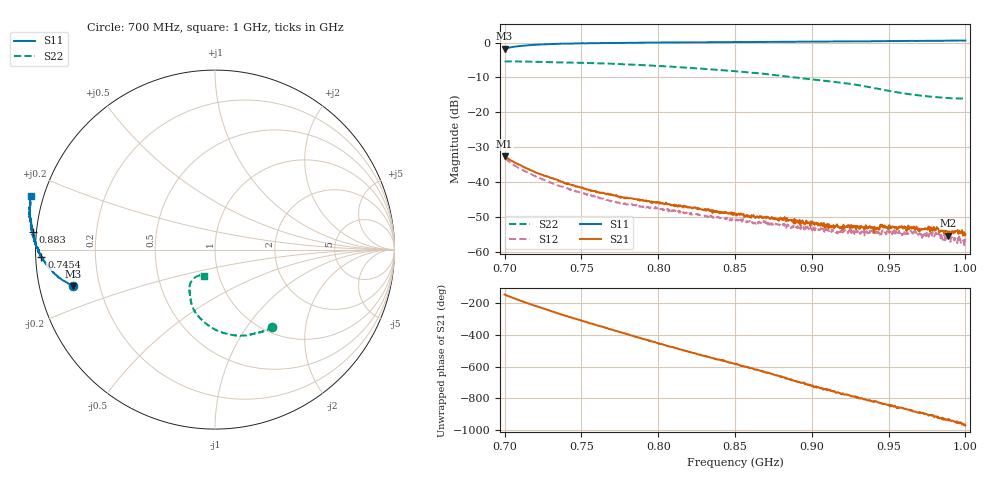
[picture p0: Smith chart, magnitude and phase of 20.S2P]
! C:\Users\rflab\Downloads\Lab5_KD_ZW\Q2\728 MHz\20.S2P
! Touchstone 1.1 file saved by VNA.EXE V1.65 (www.ke5fx.com/gpib/readme.htm)
! 11/18/2024 9:09:51 PM
!  Source: HEWLETT PACKARD,8753D,0,6.14
!  Min freq: 7.000000E+008 Hz
!  Max freq: 1.000000E+009 Hz
!  Points: 801
!  Params: S11 S21 S12 S22
# GHZ S MA R 50
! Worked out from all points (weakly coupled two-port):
!   801 points, 700 MHz to 1 GHz, reference 50 ohm
!   highest |S21| = -32.59 dB at 700 MHz (marker M1); lowest = -55.3 dB at 988.8 MHz (marker M2)
!   lowest |S11| = -1.8 dB at 700 MHz (marker M3), VSWR 9.94, Z = 5.11 - j6.22 ohm
!   |S11| at or under -10 dB: nowhere
!   |S22| runs from -16.0 to -5.4 dB; largest |S21 - S12| = 0.0074
!   S11 on the Smith chart (normalised r, x): 700 MHz: 0.10, -0.12; 745.4 MHz: 0.02, -0.02; 883 MHz: -0.01, +0.05; 1 GHz: -0.03, +0.14
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0.7  0.8172 -165.7  0.02347 -145.1  0.02195 -163.6  0.5349 -53.5
0.707875  0.8805 -169.6  0.0185 -174.9  0.01661 165.5  0.5349 -55.7
0.71875  0.9253 -173.2  0.01429 147.8  0.01255 127.9  0.5296 -59.0
0.745375  0.9677 -177.6  0.008907 64.9  0.007469 45.3  0.5136 -66.8
0.75025  0.9752 -178.1  0.008338 50.3  0.007018 32.0  0.5115 -68.3
0.77425  0.987 179.8  0.006205 -20.4  0.005172 -36.7  0.4912 -76.5
0.800125  0.9996 178.2  0.005146 -92.0  0.004297 -109.9  0.4616 -85.6
0.85  1.016 175.7  0.003562 138.5  0.002814 122.5  0.3885 -102.8
0.883  1.021 174.5  0.002988 44.4  0.002442 34.6  0.3271 -113.7
0.90025  1.029 173.5  0.002702 1.5  0.002031 -16.7  0.2954 -118.0
0.91675  1.033 172.6  0.002274 -41.7  0.001837 -58.8  0.2691 -121.8
0.92125  1.034 172.5  0.002173 -54.8  0.00206 -62.7  0.2621 -123.1
0.9295  1.036 171.8  0.002263 -75.3  0.001932 -90.7  0.2468 -124.9
0.9415  1.04 170.8  0.002101 -96.9  0.001815 -117.6  0.2209 -126.7
0.946  1.047 170.0  0.002441 -112.8  0.002026 -125.6  0.2113 -126.8
0.950125  1.051 170.1  0.002142 -124.1  0.00197 -135.7  0.2034 -126.6
0.982  1.059 166.9  0.002184 157.2  0.001689 145.3  0.1643 -119.2
0.985375  1.057 166.3  0.002006 147.2  0.001483 130.0  0.1621 -118.1
0.98875  1.061 165.6  0.001712 142.3  0.001616 124.0  0.1599 -116.9
0.995125  1.067 164.6  0.001964 129.5  0.001631 109.5  0.1578 -114.2
0.99775  1.066 164.1  0.002056 117.4  0.001483 103.1  0.1579 -112.9
1  1.068 163.7  0.001783 110.2  0.001545 101.6  0.1582 -111.9
